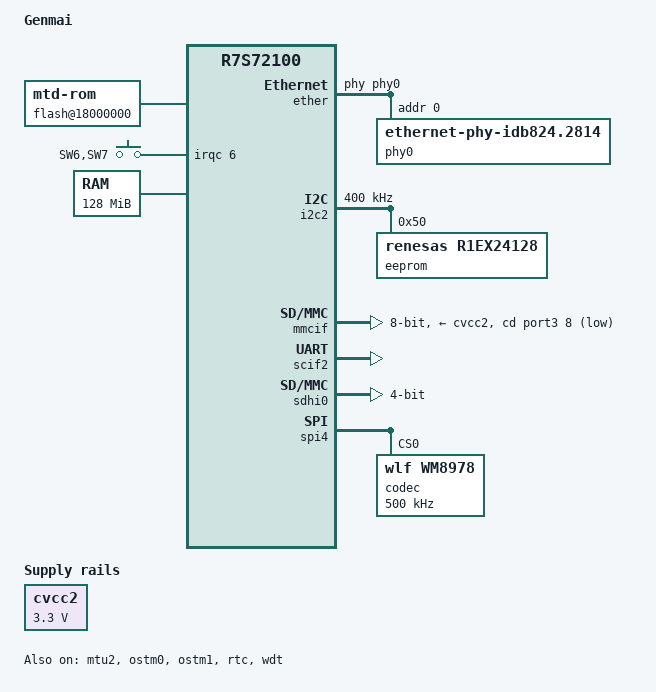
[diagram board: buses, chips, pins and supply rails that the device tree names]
// SPDX-License-Identifier: GPL-2.0
/*
 * Device Tree Source for the Genmai board
 *
 * Copyright (C) 2013-14 Renesas Solutions Corp.
 * Copyright (C) 2014 Wolfram Sang, Sang Engineering <wsa@sang-engineering.com>
 */

/dts-v1/;
#include "r7s72100.dtsi"
#include <dt-bindings/gpio/gpio.h>
#include <dt-bindings/input/input.h>
#include <dt-bindings/pinctrl/r7s72100-pinctrl.h>

/ {
	model = "Genmai";
	compatible = "renesas,genmai", "renesas,r7s72100";

	aliases {
		serial0 = &scif2;
	};

	chosen {
		bootargs = "ignore_loglevel rw root=/dev/nfs ip=on";
		stdout-path = "serial0:115200n8";
	};

	flash@18000000 {
		compatible = "mtd-rom";
		reg = <0x18000000 0x08000000>;
		bank-width = <4>;
		device-width = <1>;

		clocks = <&mstp9_clks R7S72100_CLK_SPIBSC0>;
		power-domains = <&cpg_clocks>;

		#address-cells = <1>;
		#size-cells = <1>;

		partitions {
			compatible = "fixed-partitions";
			#address-cells = <1>;
			#size-cells = <1>;

			partition@0 {
				label = "user";
				reg = <0x00000000 0x04000000>;
			};

			partition@4000000 {
				label = "user1";
				reg = <0x04000000 0x04000000>;
			};
		};
	};

	keyboard {
		compatible = "gpio-keys";

		pinctrl-names = "default";
		pinctrl-0 = <&keyboard_pins>;

		key-1 {
			/* JP3 must be set to 1-2 (default) */
			interrupts-extended = <&irqc 6 IRQ_TYPE_EDGE_BOTH>;
			linux,code = <KEY_1>;
			label = "SW6,SW7";
			wakeup-source;
		};
	};

	leds {
		/* Needs SDHI0 to be disabled */
		status = "disabled";
		compatible = "gpio-leds";

		led1 {
			gpios = <&port4 10 GPIO_ACTIVE_LOW>;
		};

		led2 {
			gpios = <&port4 11 GPIO_ACTIVE_LOW>;
		};
	};

	memory@8000000 {
		device_type = "memory";
		reg = <0x08000000 0x08000000>;
	};

	cvcc2: regulator-mmc {
		compatible = "regulator-fixed";
		regulator-name = "Cvcc2";
		regulator-min-microvolt = <3300000>;
		regulator-max-microvolt = <3300000>;
		regulator-boot-on;
		regulator-always-on;
	};
};

&bsc {
	flash@0 {
		compatible = "cfi-flash";
		reg = <0x00000000 0x04000000>;
		bank-width = <2>;

		partitions {
			compatible = "fixed-partitions";
			#address-cells = <1>;
			#size-cells = <1>;

			partition@0 {
				label = "uboot";
				reg = <0x00000000 0x00040000>;
			};

			partition@40000 {
				label = "uboot-env";
				reg = <0x00040000 0x00020000>;
			};

			partition@60000 {
				label = "flash";
				reg = <0x00060000 0x03fa0000>;
			};
		};
	};

	flash@4000000 {
		compatible = "cfi-flash";
		reg = <0x04000000 0x04000000>;
		bank-width = <2>;

		partitions {
			compatible = "fixed-partitions";
			#address-cells = <1>;
			#size-cells = <1>;

			partition@0 {
				label = "uboot1";
				reg = <0x00000000 0x00040000>;
			};

			partition@40000 {
				label = "uboot-env1";
				reg = <0x00040000 0x00020000>;
			};

			partition@60000 {
				label = "flash1";
				reg = <0x00060000 0x03fa0000>;
			};
		};
	};
};

&ether {
	pinctrl-names = "default";
	pinctrl-0 = <&ether_pins>;

	status = "okay";

	renesas,no-ether-link;
	phy-handle = <&phy0>;
	phy0: ethernet-phy@0 {
		compatible = "ethernet-phy-idb824.2814",
			     "ethernet-phy-ieee802.3-c22";
		reg = <0>;
	};
};

&extal_clk {
	clock-frequency = <13330000>;
};

&i2c2 {
	status = "okay";
	clock-frequency = <400000>;

	pinctrl-names = "default";
	pinctrl-0 = <&i2c2_pins>;

	eeprom@50 {
		compatible = "renesas,r1ex24128", "atmel,24c128";
		reg = <0x50>;
		pagesize = <64>;
	};
};

&mmcif {
	pinctrl-0 = <&mmcif_pins>;
	pinctrl-names = "default";
	cd-gpios = <&port3 8 GPIO_ACTIVE_LOW>;

	vmmc-supply = <&cvcc2>;
	vqmmc-supply = <&cvcc2>;
	bus-width = <8>;
	status = "okay";
};

&mtu2 {
	status = "okay";
};

&ostm0 {
	status = "okay";
};

&ostm1 {
	status = "okay";
};

&pinctrl {
	ether_pins: ether {
		/* Ethernet on Ports 1,2,3,5 */
		pinmux = <RZA1_PINMUX(1, 14, 4)>,/* P1_14 = ET_COL  */
			 <RZA1_PINMUX(5, 9, 2)>, /* P5_9 = ET_MDC   */
			 <RZA1_PINMUX(3, 3, 2)>, /* P3_3 = ET_MDIO */
			 <RZA1_PINMUX(3, 4, 2)>, /* P3_4 = ET_RXCLK */
			 <RZA1_PINMUX(3, 5, 2)>, /* P3_5 = ET_RXER  */
			 <RZA1_PINMUX(3, 6, 2)>, /* P3_6 = ET_RXDV  */
			 <RZA1_PINMUX(2, 0, 2)>, /* P2_0 = ET_TXCLK */
			 <RZA1_PINMUX(2, 1, 2)>, /* P2_1 = ET_TXER  */
			 <RZA1_PINMUX(2, 2, 2)>, /* P2_2 = ET_TXEN  */
			 <RZA1_PINMUX(2, 3, 2)>, /* P2_3 = ET_CRS   */
			 <RZA1_PINMUX(2, 4, 2)>, /* P2_4 = ET_TXD0  */
			 <RZA1_PINMUX(2, 5, 2)>, /* P2_5 = ET_TXD1  */
			 <RZA1_PINMUX(2, 6, 2)>, /* P2_6 = ET_TXD2  */
			 <RZA1_PINMUX(2, 7, 2)>, /* P2_7 = ET_TXD3  */
			 <RZA1_PINMUX(2, 8, 2)>, /* P2_8 = ET_RXD0  */
			 <RZA1_PINMUX(2, 9, 2)>, /* P2_9 = ET_RXD1  */
			 <RZA1_PINMUX(2, 10, 2)>,/* P2_10 = ET_RXD2 */
			 <RZA1_PINMUX(2, 11, 2)>;/* P2_11 = ET_RXD3 */
	};

	i2c2_pins: i2c2 {
		/* RIIC2: P1_4 as SCL, P1_5 as SDA */
		pinmux = <RZA1_PINMUX(1, 4, 1)>, <RZA1_PINMUX(1, 5, 1)>;
	};

	keyboard_pins: keyboard {
		/* P3_1 as IRQ6 */
		pinmux = <RZA1_PINMUX(3, 1, 3)>;
	};

	mmcif_pins: mmcif {
		/* MMCIF: P3_8 is CD_GPIO, P3_10 up to P3_15, P4_0 up to P4_3 */
		pinmux = <RZA1_PINMUX(3, 10, 8)>,	/* MMC_D1 */
			 <RZA1_PINMUX(3, 11, 8)>,	/* MMC_D0 */
			 <RZA1_PINMUX(3, 12, 8)>,	/* MMC_CLK */
			 <RZA1_PINMUX(3, 13, 8)>,	/* MMC_CMD */
			 <RZA1_PINMUX(3, 14, 8)>,	/* MMC_D3 */
			 <RZA1_PINMUX(3, 15, 8)>,	/* MMC_D2 */
			 <RZA1_PINMUX(4, 0, 8)>,	/* MMC_D4 */
			 <RZA1_PINMUX(4, 1, 8)>,	/* MMC_D5 */
			 <RZA1_PINMUX(4, 2, 8)>,	/* MMC_D6 */
			 <RZA1_PINMUX(4, 3, 8)>;	/* MMC_D7 */
	};

	scif2_pins: serial2 {
		/* P3_0 as TxD2; P3_2 as RxD2 */
		pinmux = <RZA1_PINMUX(3, 0, 6)>, <RZA1_PINMUX(3, 2, 4)>;
	};

	sdhi0_pins: sdhi0 {
		/* SDHI0: P4_8 up to P4_15 */
		pinmux = <RZA1_PINMUX(4, 8, 3)>,	/* SD_CD_0 */
			 <RZA1_PINMUX(4, 9, 3)>,	/* SD_WP_0 */
			 <RZA1_PINMUX(4, 10, 3)>,	/* SD_D1_0 */
			 <RZA1_PINMUX(4, 11, 3)>,	/* SD_D0_0 */
			 <RZA1_PINMUX(4, 12, 3)>,	/* SD_CLK_0 */
			 <RZA1_PINMUX(4, 13, 3)>,	/* SD_CMD_0 */
			 <RZA1_PINMUX(4, 14, 3)>,	/* SD_D3_0 */
			 <RZA1_PINMUX(4, 15, 3)>;	/* SD_D2_0 */
	};
};

&rtc_x1_clk {
	clock-frequency = <32768>;
};

&rtc {
	status = "okay";
};

&scif2 {
	pinctrl-names = "default";
	pinctrl-0 = <&scif2_pins>;

	status = "okay";
};

&sdhi0 {
	pinctrl-names = "default";
	pinctrl-0 = <&sdhi0_pins>;

	bus-width = <4>;
	status = "okay";
};

&spi4 {
	status = "okay";

	codec: codec@0 {
		compatible = "wlf,wm8978";
		reg = <0>;
		spi-max-frequency = <500000>;
		#sound-dai-cells = <0>;
	};
};

&usb_x1_clk {
	clock-frequency = <48000000>;
};

&wdt {
	timeout-sec = <60>;
	status = "okay";
};
